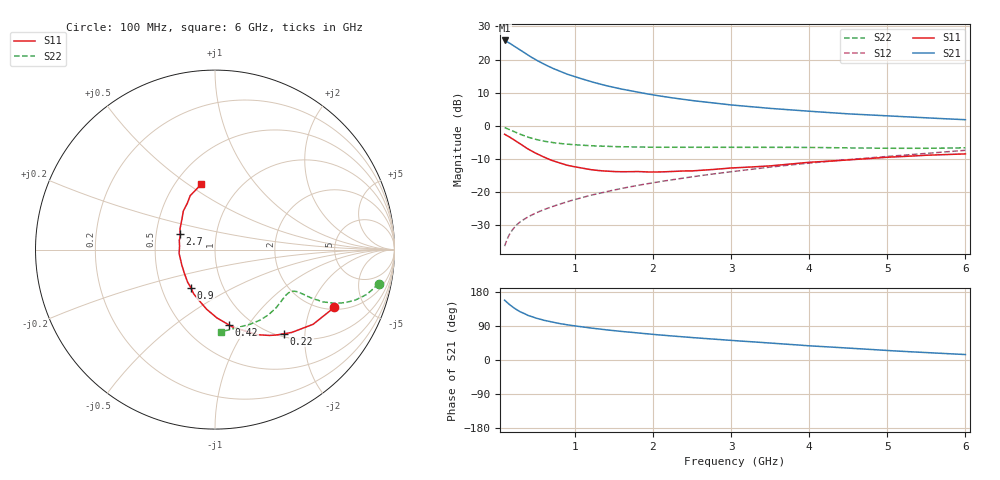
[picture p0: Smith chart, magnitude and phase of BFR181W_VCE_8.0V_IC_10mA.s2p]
! Infineon Technologies  Discrete & RF Semiconductors
! BFR181W
! VCE =  8.0 V,  IC =  10 mA
! Common Emitter S-Parameters:  Nov 2015
# GHz  S  MA  R  50
!  f  S11  S21  S12  S22
! GHz  MAG  ANG  MAG  ANG  MAG  ANG  MAG  ANG
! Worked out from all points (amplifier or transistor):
!   192 points, 100 MHz to 6 GHz, reference 50 ohm
!   highest |S21| = 25.8 dB at 100 MHz (marker M1)
!   |S21| within 3 dB of that: start of sweep to 303.2 MHz
!   unconditionally stable (mu >= 1): 1.178 GHz to 3.033 GHz
!   at 440 MHz: K = 0.67, MSG = 24.0 dB, |S12| = -27.2 dB
!   at 1.7 GHz: K = 1.04, MAG = 13.3 dB, |S12| = -18.6 dB
!   at 6 GHz: K = 0.81, MSG = 4.6 dB, |S12| = -7.5 dB
!   S11 on the Smith chart (normalised r, x): 100 MHz: 2.11, -2.99; 220 MHz: 1.06, -1.57; 420 MHz: 0.80, -0.82; 900 MHz: 0.70, -0.32; 2.7 GHz: 0.67, +0.12; 6 GHz: 0.67, +0.56
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0.1  0.7391 -25.8  19.43 157.9  0.0149 76.5  0.9319 -11.8
0.15  0.6869 -37.3  18.1 148.3  0.0212 72.5  0.8828 -16.4
0.2  0.6291 -47.2  16.63 140.0  0.0263 69.6  0.8309 -19.8
0.22  0.6064 -50.6  16.03 137.4  0.0282 68.4  0.8104 -20.8
0.26  0.5664 -57.6  14.91 132.1  0.0318 66.4  0.7715 -22.6
0.3  0.5289 -63.7  13.83 127.2  0.0348 65.1  0.737 -24.0
0.4  0.4411 -77.4  11.6 117.6  0.0413 63.6  0.6659 -25.9
0.42  0.4279 -79.3  11.24 116.4  0.0425 63.6  0.6559 -26.0
0.5  0.3807 -88.4  9.875 110.6  0.0473 63.5  0.6158 -26.5
0.6  0.3346 -98.2  8.546 105.0  0.0532 63.7  0.5803 -26.8
0.7  0.2977 -107.2  7.49 100.2  0.0585 64.4  0.5552 -26.8
0.8  0.2731 -115.9  6.689 96.3  0.0643 65.2  0.5363 -26.9
0.9  0.2507 -122.6  6.002 92.9  0.0701 65.8  0.5224 -26.9
1.1  0.2248 -136.1  5.048 87.3  0.0818 66.8  0.5029 -27.5
1.2  0.2152 -142.7  4.631 84.4  0.0878 67.2  0.4943 -27.9
1.5  0.201 -159.9  3.773 77.4  0.1054 67.9  0.4799 -29.5
2.08  0.1983 174.8  2.812 66.3  0.1408 68.1  0.4688 -34.0
2.7  0.2131 155.9  2.249 56.4  0.1802 67.3  0.4684 -40.1
3.1  0.2305 146.7  2.002 50.3  0.2066 66.2  0.4695 -45.0
4.1  0.2818 127.7  1.617 36.3  0.2768 62.1  0.4648 -58.6
5.1  0.3351 112.9  1.383 23.9  0.348 57.2  0.4525 -73.1
6  0.3721 101.8  1.226 14.4  0.4215 52.4  0.4603 -86.0
